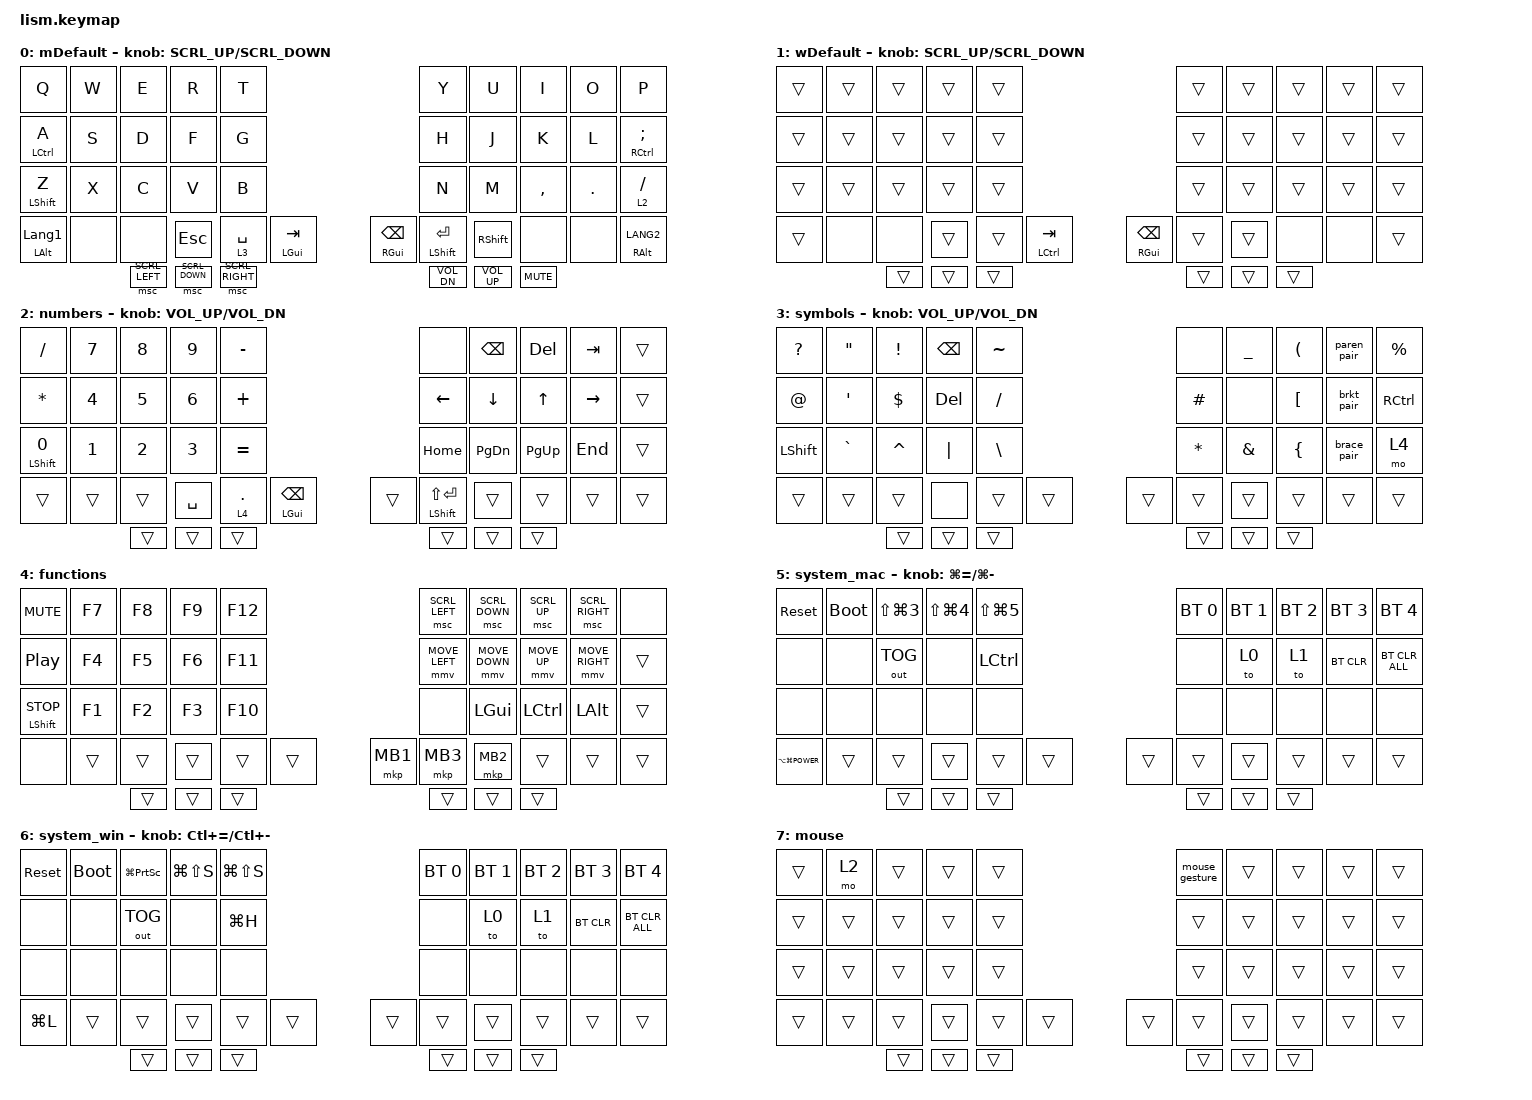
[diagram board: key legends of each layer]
#define ZMK_POINTING_DEFAULT_SCRL_VAL 200

#include <dt-bindings/zmk/mouse.h>
#include <mouse-gesture.dtsi>
#include <behaviors.dtsi>
#include <dt-bindings/zmk/bt.h>
#include <dt-bindings/zmk/keys.h>
#include <dt-bindings/zmk/outputs.h>
#include <dt-bindings/zmk/pointing.h>

&mt {
    quick-tap-ms = <200>;
    tapping-term-ms = <250>;
    flavor = "tap-preferred";
};

&lt { quick-tap-ms = <200>; };

/ {
    macros {
        // 閉じ → カーソル1つ左
        paren_pair: paren_pair {
            compatible = "zmk,behavior-macro";
            #binding-cells = <0>;
            wait-ms = <0>;
            tap-ms = <0>;
            bindings = <&macro_tap &kp RIGHT_PARENTHESIS &kp LEFT>;
        };
        brkt_pair: brkt_pair {
            compatible = "zmk,behavior-macro";
            #binding-cells = <0>;
            wait-ms = <0>;
            tap-ms = <0>;
            bindings = <&macro_tap &kp RBKT &kp LEFT>;
        };
        brace_pair: brace_pair {
            compatible = "zmk,behavior-macro";
            #binding-cells = <0>;
            wait-ms = <0>;
            tap-ms = <0>;
            bindings = <&macro_tap &kp RIGHT_BRACE &kp LEFT>;
        };
    };

    behaviors {
        mt2: mod_tap2 {
            compatible = "zmk,behavior-hold-tap";
            #binding-cells = <2>;
            flavor = "tap-preferred";
            tapping-term-ms = <200>;
            quick-tap-ms = <200>;
            require-prior-idle-ms = <125>;
            bindings = <&kp>, <&kp>;
        };

        mt3: mod_tap3 {
            compatible = "zmk,behavior-hold-tap";
            #binding-cells = <2>;
            flavor = "hold-preferred";
            tapping-term-ms = <200>;
            quick-tap-ms = <200>;
            require-prior-idle-ms = <125>;
            bindings = <&kp>, <&kp>;
        };

        encoder_msc: sensor_rotate_msc {
            compatible = "zmk,behavior-sensor-rotate-var";
            #sensor-binding-cells = <2>;
            bindings = <&msc>, <&msc>;

            tap-ms = <20>;
        };

        encoder_kp: sensor_rotate_kp {
            compatible = "zmk,behavior-sensor-rotate-var";
            #sensor-binding-cells = <2>;
            bindings = <&kp>, <&kp>;
        };
    };

    combos {
        compatible = "zmk,combos";

        mac_onsei {
            bindings = <&kp LEFT_CONTROL>;
            key-positions = <5 6>;
            layers = <0>;
        };

        win_onsei {
            bindings = <&kp LG(H)>;
            key-positions = <5 6>;
            layers = <1>;
        };

        to_win_system {
            bindings = <&mo 6>;
            key-positions = <34 35>;
            layers = <1>;
        };

        to_mac_system {
            bindings = <&mo 5>;
            key-positions = <34 35>;
            layers = <0>;
        };

        esc {
            bindings = <&kp ESCAPE>;
            key-positions = <25 26>;
            layers = <0 1>;
        };

        mb1 {
            bindings = <&mkp MB1>;
            key-positions = <3 13>;
        };

        mb2 {
            bindings = <&mkp MB2>;
            key-positions = <2 12>;
        };

        mb3 {
            bindings = <&mkp MB3>;
            key-positions = <1 11>;
        };
    };

    keymap {
        compatible = "zmk,keymap";

        mac_default {
            display-name = "mDefault";
            bindings = <
&kp Q                     &kp W  &kp E           &kp R           &kp T                                                           &kp Y                  &kp U            &kp I       &kp O    &kp P
&mt LCTRL A               &kp S  &kp D           &kp F           &kp G                                                           &kp H                  &kp J            &kp K       &kp L    &mt2 RCTRL SEMI
&mt2 LEFT_SHIFT Z         &kp X  &kp C           &kp V           &kp B                                                           &kp N                  &kp M            &kp COMMA   &kp DOT  &lt 2 SLASH
&mt2 LEFT_ALT LANGUAGE_1  &none  &none           &kp ESCAPE      &lt 3 SPACE      &mt2 LEFT_GUI TAB    &mt3 RIGHT_GUI BACKSPACE  &mt2 LEFT_SHIFT ENTER  &kp RIGHT_SHIFT  &none       &none    &mt2 RIGHT_ALT LANG2
                                 &msc SCRL_LEFT  &msc SCRL_DOWN  &msc SCRL_RIGHT                                                 &kp C_VOL_DN           &kp C_VOL_UP     &kp C_MUTE
            >;

            sensor-bindings = <&encoder_msc SCRL_UP SCRL_DOWN>;
        };

        win_default {
            display-name = "wDefault";
            bindings = <
&trans  &trans  &trans  &trans  &trans                                                     &trans  &trans  &trans  &trans  &trans
&trans  &trans  &trans  &trans  &trans                                                     &trans  &trans  &trans  &trans  &trans
&trans  &trans  &trans  &trans  &trans                                                     &trans  &trans  &trans  &trans  &trans
&trans  &none   &none   &trans  &trans  &mt3 LEFT_CONTROL TAB    &mt2 RIGHT_GUI BACKSPACE  &trans  &trans  &none   &none   &trans
                &trans  &trans  &trans                                                     &trans  &trans  &trans
            >;

            sensor-bindings = <&encoder_msc SCRL_UP SCRL_DOWN>;
        };

        numbers_arrows {
            display-name = "numbers";
            bindings = <
&kp SLASH                 &kp NUMBER_7  &kp NUMBER_8  &kp NUMBER_9  &kp MINUS                                     &none                      &kp BSPC       &kp DELETE    &kp TAB    &trans
&kp ASTERISK              &kp NUMBER_4  &kp NUMBER_5  &kp NUMBER_6  &kp PLUS                                      &kp LEFT                   &kp DOWN       &kp UP_ARROW  &kp RIGHT  &trans
&mt2 LEFT_SHIFT NUMBER_0  &kp NUMBER_1  &kp NUMBER_2  &kp NUMBER_3  &kp EQUAL                                     &kp HOME                   &kp PAGE_DOWN  &kp PAGE_UP   &kp END    &trans
&trans                    &trans        &trans        &kp SPACE     &lt 4 DOT  &mt3 LEFT_GUI BACKSPACE    &trans  &mt2 LEFT_SHIFT LS(ENTER)  &trans         &trans        &trans     &trans
                                        &trans        &trans        &trans                                        &trans                     &trans         &trans
            >;

            sensor-bindings = <&encoder_kp C_VOL_UP C_VOL_DN>;
        };

        symbols {
            display-name = "symbols";
            bindings = <
&kp QUESTION  &kp DOUBLE_QUOTES  &kp EXCLAMATION  &kp BSPC  &kp TILDE                    &none      &kp UNDER  &kp LEFT_PARENTHESIS  &paren_pair  &kp PERCENT
&kp AT        &kp SQT            &kp DOLLAR       &kp DEL   &kp FSLH                     &kp HASH   &none      &kp LBKT              &brkt_pair   &kp RIGHT_CONTROL
&kp LSHFT     &kp GRAVE          &kp CARET        &kp PIPE  &kp BSLH                     &kp ASTRK  &kp AMPS   &kp LEFT_BRACE        &brace_pair  &mo 4
&trans        &trans             &trans           &none     &trans     &trans    &trans  &trans     &trans     &trans                &trans       &trans
                                 &trans           &trans    &trans                       &trans     &trans     &trans
            >;

            sensor-bindings = <&inc_dec_kp C_VOLUME_UP C_VOL_DN>;
        };

        fnc_navi {
            display-name = "functions";
            bindings = <
&kp C_MUTE              &kp F7  &kp F8  &kp F9  &kp F12                      &msc SCRL_LEFT  &msc SCRL_DOWN  &msc SCRL_UP  &msc SCRL_RIGHT  &none
&kp C_PP                &kp F4  &kp F5  &kp F6  &kp F11                      &mmv MOVE_LEFT  &mmv MOVE_DOWN  &mmv MOVE_UP  &mmv MOVE_RIGHT  &trans
&mt2 LEFT_SHIFT C_STOP  &kp F1  &kp F2  &kp F3  &kp F10                      &none           &kp LEFT_GUI    &kp LCTRL     &kp LEFT_ALT     &trans
&none                   &trans  &trans  &trans  &trans   &trans    &mkp MB1  &mkp MB3        &mkp MB2        &trans        &trans           &trans
                                &trans  &trans  &trans                       &trans          &trans          &trans
            >;
        };

        mac_bt_shortcuts {
            display-name = "system_mac";
            bindings = <
&sys_reset           &bootloader  &kp LS(LG(NUMBER_3))  &kp LS(LG(NUMBER_4))  &kp LS(LG(N5))                      &bt BT_SEL 0  &bt BT_SEL 1  &bt BT_SEL 2  &bt BT_SEL 3  &bt BT_SEL 4
&none                &none        &out OUT_TOG          &none                 &kp LEFT_CONTROL                    &none         &to 0         &to 1         &bt BT_CLR    &bt BT_CLR_ALL
&none                &none        &none                 &none                 &none                               &none         &none         &none         &none         &none
&kp LA(LG(C_POWER))  &trans       &trans                &trans                &trans            &trans    &trans  &trans        &trans        &trans        &trans        &trans
                                  &trans                &trans                &trans                              &trans        &trans        &trans
            >;

            sensor-bindings = <&inc_dec_kp LG(EQUAL) LG(MINUS)>;
        };

        win_bt_shortcuts {
            display-name = "system_win";
            bindings = <
&sys_reset  &bootloader  &kp LG(PRINTSCREEN)  &kp LG(LS(S))  &kp LG(LS(S))                    &bt BT_SEL 0  &bt BT_SEL 1  &bt BT_SEL 2  &bt BT_SEL 3  &bt BT_SEL 4
&none       &none        &out OUT_TOG         &none          &kp LG(H)                        &none         &to 0         &to 1         &bt BT_CLR    &bt BT_CLR_ALL
&none       &none        &none                &none          &none                            &none         &none         &none         &none         &none
&kp LG(L)   &trans       &trans               &trans         &trans         &trans    &trans  &trans        &trans        &trans        &trans        &trans
                         &trans               &trans         &trans                           &trans        &trans        &trans
            >;

            sensor-bindings = <&inc_dec_kp LC(EQUAL) LC(MINUS)>;
        };

        auto_mouse {
            display-name = "mouse";
            bindings = <
&trans  &mo 2   &trans  &trans  &trans                    &mouse_gesture  &trans  &trans  &trans  &trans
&trans  &trans  &trans  &trans  &trans                    &trans          &trans  &trans  &trans  &trans
&trans  &trans  &trans  &trans  &trans                    &trans          &trans  &trans  &trans  &trans
&trans  &trans  &trans  &trans  &trans  &trans    &trans  &trans          &trans  &trans  &trans  &trans
                &trans  &trans  &trans                    &trans          &trans  &trans
            >;
        };
    };
};
